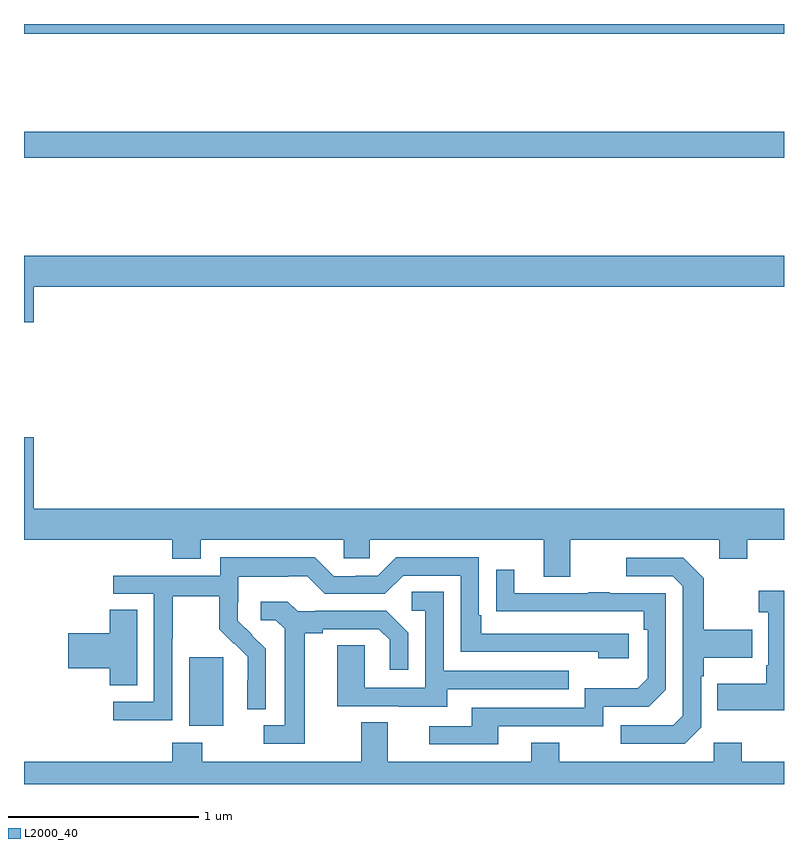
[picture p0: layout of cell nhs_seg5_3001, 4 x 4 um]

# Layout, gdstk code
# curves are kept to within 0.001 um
import gdstk
lib = gdstk.Library(unit=1e-6, precision=1e-09)
def R(c, l, rs):  # rectangles x0, y0, x1, y1
    for r in rs: c.add(gdstk.rectangle(r[:2], r[2:], *l))
def P(c, l, *ps):  # polygons
    for p in ps: c.add(gdstk.Polygon(p, *l))
L2000_40 = (2000, 40)

nhs_seg5_3001 = lib.new_cell('nhs_seg5_3001')
R(nhs_seg5_3001, L2000_40, [(285.869,865.106,286.048,865.467), (285,868.096,289,868.232), (285,868.748,289,868.799)])
P(nhs_seg5_3001, L2000_40, [(285.052,867.416),(289,867.416),(289,867.58),(285,867.58),(285,867.228),(285.052,867.228)],
  [(287.875,866.084),(288.659,866.084),(288.659,865.985),(288.807,865.985),(288.807,866.084),(289,866.084),(289,866.248),(285.052,866.248),(285.052,866.623),(285,866.623),(285,866.084),(285.779,866.084),(285.779,865.985),(285.931,865.985),(285.931,866.084),(286.683,866.084),(286.683,865.986),(286.821,865.986),(286.821,866.084),(287.735,866.084),(287.735,865.89),(287.875,865.89)],
  [(285.78,865.564),(285.783,865.564),(285.783,865.788),(286.027,865.788),(286.027,865.613),(286.104,865.536),(286.107,865.539),(286.178,865.469),(286.178,865.346),(286.176,865.346),(286.176,865.192),(286.272,865.192),(286.272,865.51),(286.126,865.658),(286.126,865.755),(286.128,865.755),(286.128,865.889),(286.391,865.889),(286.391,865.893),(286.491,865.893),(286.584,865.8),(286.899,865.8),(286.995,865.896),(287.298,865.896),(287.298,865.494),(288.023,865.494),(288.023,865.46),(288.184,865.46),(288.184,865.59),(287.407,865.59),(287.407,865.687),(287.394,865.687),(287.394,865.992),(286.959,865.992),(286.863,865.896),(286.745,865.896),(286.745,865.893),(286.629,865.893),(286.529,865.993),(286.032,865.993),(286.032,865.896),(285.471,865.896),(285.471,865.8),(285.684,865.8),(285.684,865.233),(285.471,865.233),(285.471,865.135),(285.78,865.135)],
  [(288.564,865.098),(288.564,865.367),(288.577,865.367),(288.577,865.463),(288.833,865.463),(288.833,865.611),(288.577,865.611),(288.577,865.883),(288.471,865.989),(288.171,865.989),(288.171,865.893),(288.414,865.893),(288.468,865.839),(288.468,865.158),(288.417,865.107),(288.141,865.107),(288.141,865.011),(288.477,865.011)],
  [(287.497,865.104),(288.048,865.104),(288.048,865.206),(288.288,865.206),(288.378,865.296),(288.378,865.803),(288.083,865.803),(288.083,865.808),(287.971,865.808),(287.971,865.803),(287.581,865.803),(287.581,865.927),(287.485,865.927),(287.485,865.708),(288.262,865.707),(288.262,865.61),(288.282,865.61),(288.282,865.356),(288.229,865.303),(287.952,865.303),(287.952,865.2),(287.357,865.2),(287.357,865.104),(287.133,865.104),(287.133,865.008),(287.497,865.008)],
  [(289,865.816),(288.867,865.816),(288.867,865.703),(288.918,865.703),(288.918,865.423),(288.906,865.423),(288.906,865.327),(288.649,865.327),(288.649,865.187),(289,865.187)],
  [(287.227,865.299),(287.867,865.299),(287.867,865.395),(287.208,865.395),(287.208,865.811),(287.04,865.811),(287.04,865.71),(287.112,865.71),(287.112,865.305),(286.794,865.305),(286.794,865.529),(286.649,865.529),(286.649,865.209),(286.973,865.209),(286.973,865.205),(287.227,865.205)],
  [(286.477,865.592),(286.573,865.592),(286.573,865.614),(286.868,865.614),(286.925,865.557),(286.925,865.401),(287.022,865.401),(287.022,865.594),(286.906,865.71),(286.534,865.71),(286.534,865.707),(286.44,865.707),(286.388,865.759),(286.245,865.759),(286.245,865.662),(286.326,865.662),(286.373,865.615),(286.373,865.107),(286.263,865.107),(286.263,865.011),(286.477,865.011)],
  [(285.595,865.715),(285.452,865.715),(285.452,865.592),(285.234,865.592),(285.234,865.409),(285.452,865.409),(285.452,865.318),(285.595,865.318)],
  [(289,864.916),(288.777,864.916),(288.777,865.015),(288.63,865.015),(288.63,864.916),(287.817,864.916),(287.817,865.015),(287.669,865.015),(287.669,864.916),(286.915,864.916),(286.915,865.124),(286.775,865.124),(286.775,864.916),(285.939,864.916),(285.939,865.015),(285.779,865.015),(285.779,864.916),(285,864.916),(285,864.799),(289,864.799)])

lib.write_gds('nhs_seg5_3001.gds')
